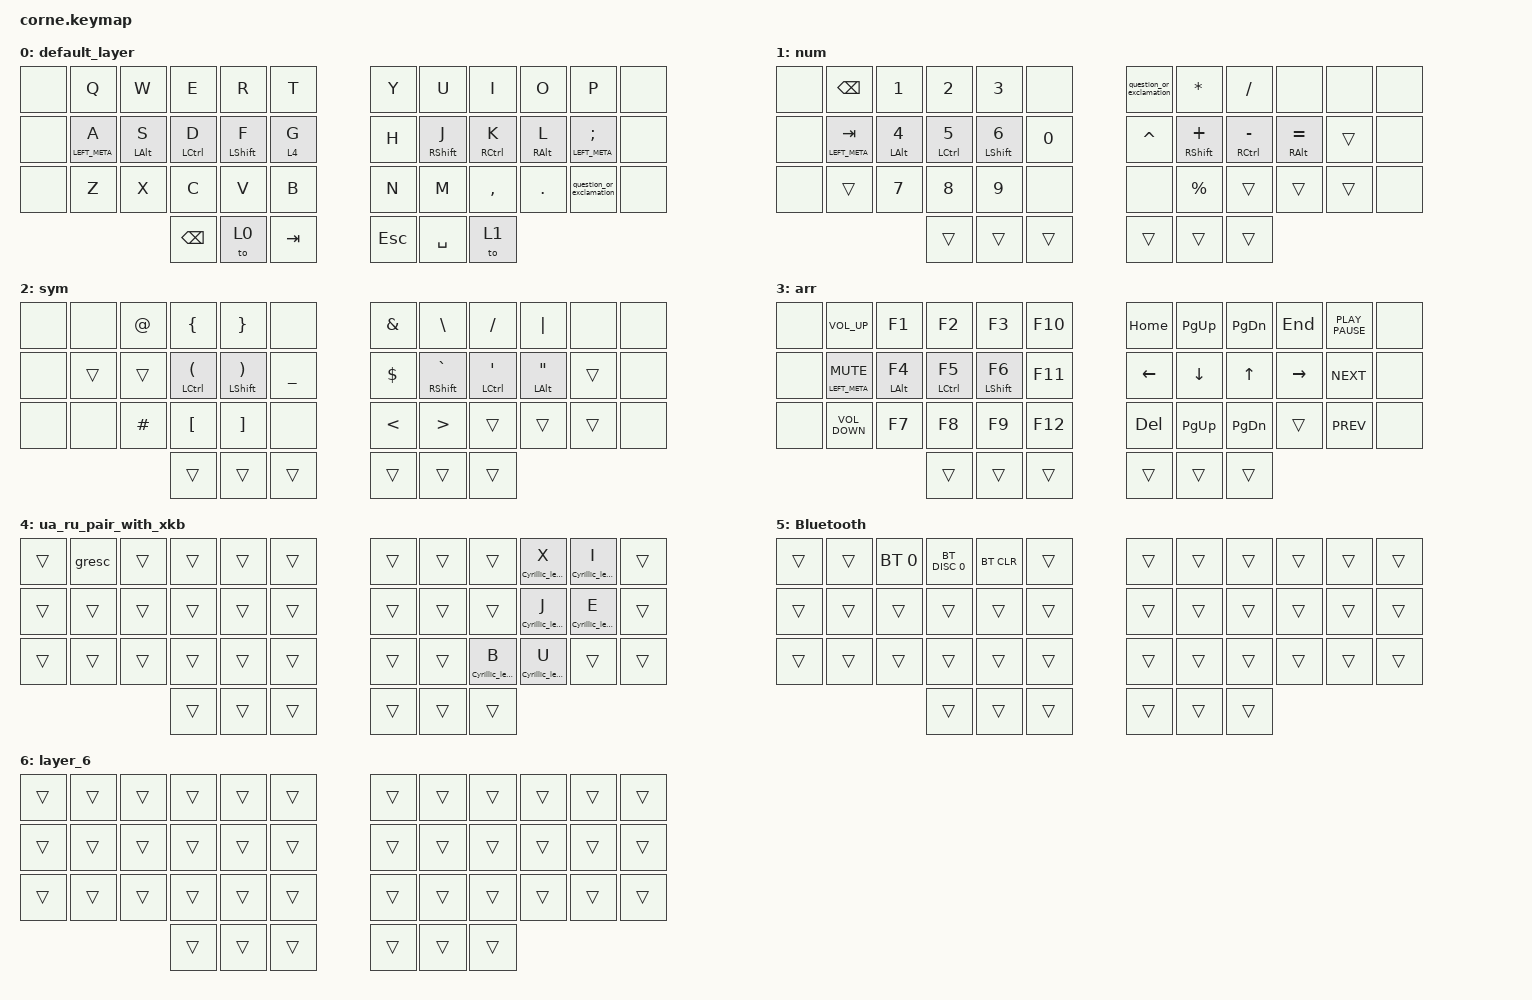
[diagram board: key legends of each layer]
/*
 * Copyright (c) 2020 The ZMK Contributors
 *
 * SPDX-License-Identifier: MIT
 */

#include <behaviors.dtsi>
#include <dt-bindings/zmk/bt.h>
#include <dt-bindings/zmk/keys.h>

#define SPLIT_USB_DETECT
#define DEFAULT 0
#define LOWER   1
#define RAISE   2
#define ADJUST  3
#define LWR LOWER
#define RSE RAISE
#define ADJ ADJUST

&lt {
    quick-tap-ms = <200>;
    require-prior-idle-ms = <199>;
};

/ {
    behaviors {
        //                 Key positions
        //       0  1  2  3  4  5    6  7  8  9 10 11
        //      12 13 14 15 16 17   18 19 20 21 22 23
        //      24 25 26 27 28 29   30 31 32 33 34 35
        //               36 37 38   39 40 41

        hml: homerow_mods_left {
            compatible = "zmk,behavior-hold-tap";
            label = "HOMEROW_MODS_LEFT";
            #binding-cells = <2>;
            flavor = "balanced";
            tapping-term-ms = <230>;
            quick-tap-ms = <180>;
            bindings = <&kp>, <&kp>;

            hold-trigger-key-positions = <
                                         6  7  8  9 10
                       13 14 15 16      18 19 20 21 22
                          26            30 31 32 33 34
                             36 37 38   39 40 41
            >;

            // <---[[right-hand keys + all homerow mods + all thumbs]]
        };

        hmr: homerow_mods_right {
            compatible = "zmk,behavior-hold-tap";
            label = "HOMEROW_MODS_RIGHT";
            #binding-cells = <2>;
            flavor = "balanced";
            tapping-term-ms = <230>;
            quick-tap-ms = <180>;
            bindings = <&kp>, <&kp>;

            hold-trigger-key-positions = <
                        1  2  3  4  5
                       13 14 15 16 17      19 20 21 22
                       25 26 27 28 29            33
                             36 37 38   39 40 41
            >;

            // <---[[left-hand keys + all homerow mods + all thumbs]]

            retro-tap;
        };

        shift_lt: shift_lt {
            compatible = "zmk,behavior-hold-tap";
            label = "SHIFT_LT";
            bindings = <&mo>, <&sk>;

            #binding-cells = <2>;
            tapping-term-ms = <150>;
            flavor = "tap-preferred";
        };

        question_or_exclamation: question_or_exclamation {
            compatible = "zmk,behavior-mod-morph";
            label = "?/!";
            bindings = <&kp QUESTION>, <&kp EXCL>;

            #binding-cells = <0>;
            mods = <(MOD_RSFT|MOD_LSFT)>;
        };
    };

    combos {
        compatible = "zmk,combos";

        return {
            bindings = <&kp RET>;
            key-positions = <19 20 21>;
        };

        caps_word {
            bindings = <&caps_word>;
            key-positions = <36 41>;
        };

        layer_1 {
            bindings = <&to 1>;
            key-positions = <39 38>;
        };

        layer_2 {
            bindings = <&to 2>;
            key-positions = <37 40>;
        };

        layer_3 {
            bindings = <&to 3>;
            key-positions = <37 20>;
        };

        to_config {
            bindings = <&to 5>;
            key-positions = <38 36 37>;
        };
    };

    conditional_layers { compatible = "zmk,conditional-layers"; };

    macros {
        Cyrillic_letter_compose: Cyrillic {
            compatible = "zmk,behavior-macro-one-param";
            #binding-cells = <1>;
            bindings =
                <&macro_press>,
                <&kp RIGHT_ALT &macro_param_1to1>,
                <&macro_tap>,
                <&kp MACRO_PLACEHOLDER>,
                <&macro_release>,
                <&kp RALT>;

            label = "CYRILLIC";
        };
    };

    keymap {
        compatible = "zmk,keymap";

        default_layer {
            bindings = <
&none  &kp Q             &kp W            &kp E                &kp R         &kp T      &kp Y    &kp U         &kp I                 &kp O             &kp P                     &none
&none  &hml LEFT_META A  &hml LEFT_ALT S  &hml LEFT_CONTROL D  &hml LSHFT F  &lt 4 G    &kp H    &hmr RSHFT J  &hmr RIGHT_CONTROL K  &hmr RIGHT_ALT L  &hmr LEFT_META SEMICOLON  &none
&none  &kp Z             &kp X            &kp C                &kp V         &kp B      &kp N    &kp M         &kp COMMA             &kp PERIOD        &question_or_exclamation  &none
                                          &kp BACKSPACE        &to 0         &kp TAB    &kp ESC  &kp SPACE     &to 1
            >;
        };

        numbers {
            bindings = <
&none  &kp BACKSPACE       &kp N1                  &kp N2                &kp N3                    &none           &question_or_exclamation  &kp STAR               &kp SLASH                 &none                 &none   &none
&none  &hml LEFT_META TAB  &hml LEFT_ALT NUMBER_4  &hml LEFT_CONTROL N5  &hml LEFT_SHIFT NUMBER_6  &kp NUMBER_0    &kp CARET                 &hmr RIGHT_SHIFT PLUS  &hmr RIGHT_CONTROL MINUS  &hmr RIGHT_ALT EQUAL  &trans  &none
&none  &trans              &kp N7                  &kp N8                &kp N9                    &none           &none                     &kp PERCENT            &trans                    &trans                &trans  &none
                                                   &trans                &trans                    &trans          &trans                    &trans                 &trans
            >;

            label = "num";
        };

        symbols {
            label = "sym";
            bindings = <
&none  &none   &kp AT_SIGN  &kp LEFT_BRACE                      &kp RIGHT_BRACE               &none             &kp AMPERSAND  &kp BACKSLASH           &kp SLASH              &kp PIPE                     &none   &none
&none  &trans  &trans       &hmr LEFT_CONTROL LEFT_PARENTHESIS  &hml LSHFT RIGHT_PARENTHESIS  &kp UNDERSCORE    &kp DOLLAR     &hmr RIGHT_SHIFT GRAVE  &hmr LEFT_CONTROL SQT  &hmr LEFT_ALT DOUBLE_QUOTES  &trans  &none
&none  &none   &kp HASH     &kp LEFT_BRACKET                    &kp RIGHT_BRACKET             &none             &kp LESS_THAN  &kp GREATER_THAN        &trans                 &trans                       &trans  &none
                            &trans                              &trans                        &trans            &trans         &trans                  &trans
            >;
        };

        arrows {
            label = "arr";
            bindings = <
&none  &kp C_VOLUME_UP        &kp F1            &kp F2                &kp F3              &kp F10    &kp HOME  &kp PG_UP       &kp PAGE_DOWN  &kp END          &kp K_PLAY_PAUSE  &none
&none  &hml LEFT_META K_MUTE  &hmr LEFT_ALT F4  &hml LEFT_CONTROL F5  &hml LEFT_SHIFT F6  &kp F11    &kp LEFT  &kp DOWN_ARROW  &kp UP_ARROW   &kp RIGHT_ARROW  &kp K_NEXT        &none
&none  &kp C_VOLUME_DOWN      &kp F7            &kp F8                &kp F9              &kp F12    &kp DEL   &kp PAGE_UP     &kp PAGE_DOWN  &trans           &kp K_PREV        &none
                                                &trans                &trans              &trans     &trans    &trans          &trans
            >;
        };

        ua_ru_pair_with_xkb {
            bindings = <
&trans  &gresc  &trans  &trans  &trans  &trans    &trans  &trans  &trans                      &Cyrillic_letter_compose X  &Cyrillic_letter_compose I  &trans
&trans  &trans  &trans  &trans  &trans  &trans    &trans  &trans  &trans                      &Cyrillic_letter_compose J  &Cyrillic_letter_compose E  &trans
&trans  &trans  &trans  &trans  &trans  &trans    &trans  &trans  &Cyrillic_letter_compose B  &Cyrillic_letter_compose U  &trans                      &trans
                        &trans  &trans  &trans    &trans  &trans  &trans
            >;
        };

        Bluetooth {
            bindings = <
&trans  &trans  &bt BT_SEL 0  &bt BT_DISC 0  &bt BT_CLR  &trans    &trans  &trans  &trans  &trans  &trans  &trans
&trans  &trans  &trans        &trans         &trans      &trans    &trans  &trans  &trans  &trans  &trans  &trans
&trans  &trans  &trans        &trans         &trans      &trans    &trans  &trans  &trans  &trans  &trans  &trans
                              &trans         &trans      &trans    &trans  &trans  &trans
            >;
        };

        layer_6 {
            bindings = <
&trans  &trans  &trans  &trans  &trans  &trans    &trans  &trans  &trans  &trans  &trans  &trans
&trans  &trans  &trans  &trans  &trans  &trans    &trans  &trans  &trans  &trans  &trans  &trans
&trans  &trans  &trans  &trans  &trans  &trans    &trans  &trans  &trans  &trans  &trans  &trans
                        &trans  &trans  &trans    &trans  &trans  &trans
            >;
        };
    };
};
